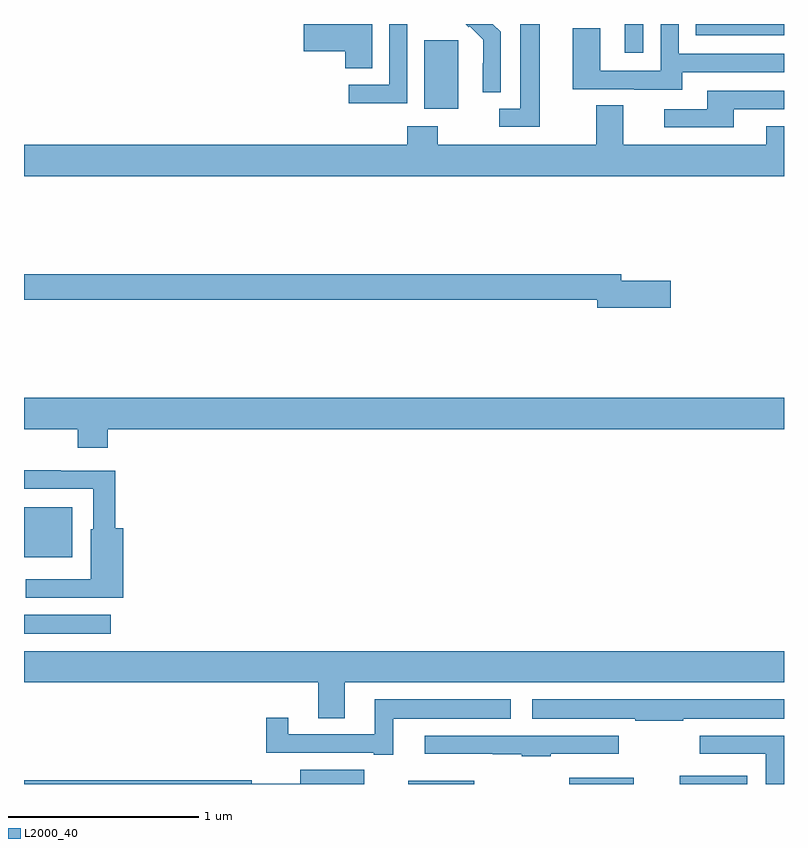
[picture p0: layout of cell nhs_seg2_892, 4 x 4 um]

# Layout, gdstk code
import gdstk
lib = gdstk.Library(unit=1e-6, precision=1e-09)
def R(c, l, rs):  # rectangles x0, y0, x1, y1
    for r in rs: c.add(gdstk.rectangle(r[:2], r[2:], *l))
def P(c, l, *ps):  # polygons
    for p in ps: c.add(gdstk.Polygon(p, *l))
L2000_40 = (2000, 40)

nhs_seg2_892 = lib.new_cell('nhs_seg2_892')
R(nhs_seg2_892, L2000_40, [(159.023,613.8,159.37,613.816), (159.869,613.8,160.21,613.834), (160.451,613.8,160.807,613.843), (157,614.591,157.456,614.692), (157,614.993,157.255,615.256), (159.107,617.354,159.286,617.715), (160.163,617.649,160.26,617.8), (160.536,617.742,161,617.8)])
P(nhs_seg2_892, L2000_40, [(160.465,617.547),(161,617.547),(161,617.643),(160.446,617.643),(160.446,617.8),(160.35,617.8),(160.35,617.553),(160.032,617.553),(160.032,617.777),(159.887,617.777),(159.887,617.457),(160.211,617.457),(160.211,617.453),(160.465,617.453)],
  [(158.833,617.8),(158.472,617.8),(158.472,617.657),(158.69,617.657),(158.69,617.566),(158.833,617.566)],
  [(159.51,617.758),(159.468,617.8),(159.326,617.8),(159.342,617.784),(159.345,617.787),(159.416,617.717),(159.416,617.594),(159.414,617.594),(159.414,617.44),(159.51,617.44)],
  [(159.715,617.8),(159.611,617.8),(159.611,617.355),(159.501,617.355),(159.501,617.259),(159.715,617.259)],
  [(159.018,617.8),(158.922,617.8),(158.922,617.481),(158.709,617.481),(158.709,617.383),(159.018,617.383)],
  [(160.735,617.352),(161,617.352),(161,617.448),(160.595,617.448),(160.595,617.352),(160.371,617.352),(160.371,617.256),(160.735,617.256)],
  [(161,617.263),(160.907,617.263),(160.907,617.164),(160.153,617.164),(160.153,617.372),(160.013,617.372),(160.013,617.164),(159.177,617.164),(159.177,617.263),(159.017,617.263),(159.017,617.164),(157,617.164),(157,617),(161,617)],
  [(160.405,616.448),(160.144,616.448),(160.144,616.484),(157,616.484),(157,616.348),(160.016,616.348),(160.016,616.306),(160.405,616.306)],
  [(157.442,615.668),(161,615.668),(161,615.832),(157,615.832),(157,615.668),(157.282,615.668),(157.282,615.569),(157.442,615.569)],
  [(157.523,615.145),(157.481,615.145),(157.481,615.45),(157.193,615.45),(157.193,615.452),(157,615.452),(157,615.354),(157.365,615.354),(157.365,615.141),(157.352,615.141),(157.352,614.877),(157.01,614.877),(157.01,614.781),(157.523,614.781)],
  [(158.689,614.336),(161,614.336),(161,614.5),(157,614.5),(157,614.336),(158.549,614.336),(158.549,614.146),(158.689,614.146)],
  [(160.469,614.144),(161,614.144),(161,614.245),(159.675,614.245),(159.675,614.144),(160.216,614.144),(160.216,614.134),(160.469,614.134)],
  [(158.944,614.144),(159.562,614.144),(159.562,614.245),(158.846,614.245),(158.846,614.061),(158.392,614.061),(158.392,614.149),(158.275,614.149),(158.275,613.965),(158.84,613.965),(158.84,613.953),(158.944,613.953)],
  [(161,614.055),(160.557,614.055),(160.557,613.959),(160.904,613.959),(160.904,613.8),(161,613.8)],
  [(159.773,613.959),(160.129,613.959),(160.129,614.055),(159.108,614.055),(159.108,613.958),(159.466,613.958),(159.466,613.957),(159.62,613.957),(159.62,613.947),(159.773,613.947)],
  [(158.791,613.876),(158.453,613.876),(158.453,613.801),(158.198,613.801),(158.198,613.82),(157,613.82),(157,613.8),(158.791,613.8)])

lib.write_gds('nhs_seg2_892.gds')
